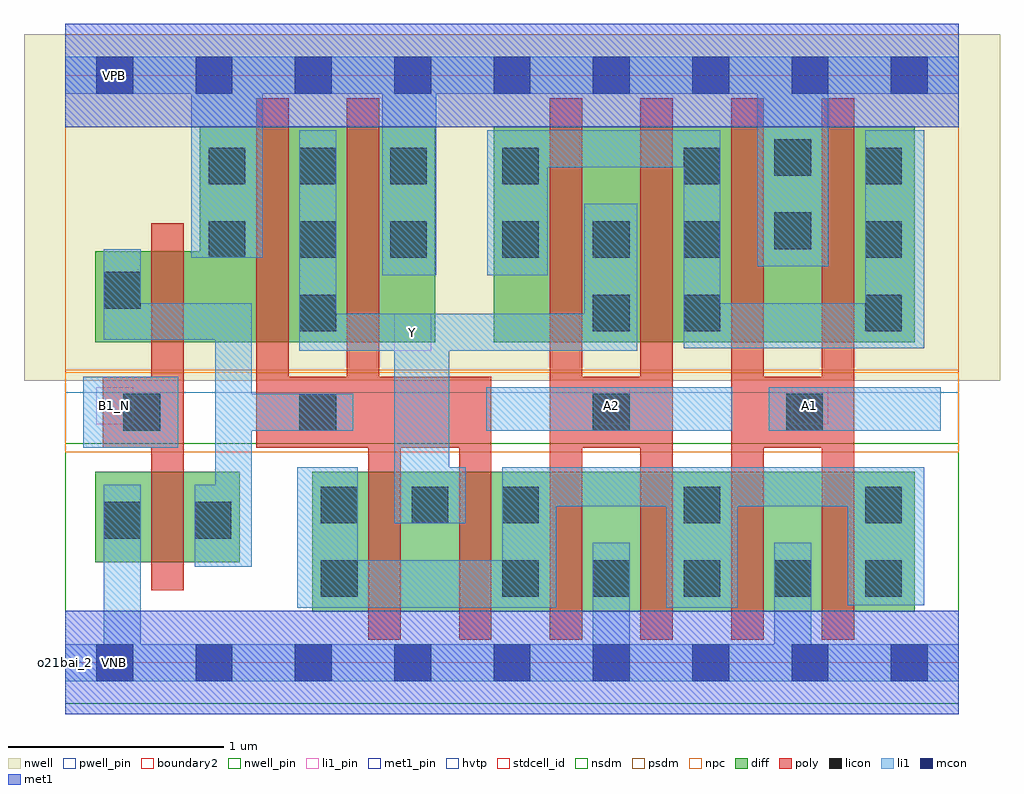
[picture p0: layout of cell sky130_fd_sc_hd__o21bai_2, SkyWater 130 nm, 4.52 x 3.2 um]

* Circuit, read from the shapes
.subckt sky130_fd_sc_hd__o21bai_2 A1 A2 B1_N VGND VNB VPB VPWR Y
XM1 n1 B1_N VGND VNB sky130_fd_pr__nfet_01v8 w=0.42 l=0.15
XM2 Y n1 n2 VNB sky130_fd_pr__nfet_01v8 w=0.65 l=0.15 m=2
XM3 VGND A2 n2 VNB sky130_fd_pr__nfet_01v8 w=0.65 l=0.15 m=2
XM4 VGND A1 n2 VNB sky130_fd_pr__nfet_01v8 w=0.65 l=0.15 m=2
XM5 VPWR B1_N n1 VPB sky130_fd_pr__pfet_01v8_hvt w=0.42 l=0.15
XM6 Y n1 VPWR VPB sky130_fd_pr__pfet_01v8_hvt w=1 l=0.15 m=2
XM7 Y A2 n3 VPB sky130_fd_pr__pfet_01v8_hvt w=1 l=0.15 m=2
XM8 VPWR A1 n3 VPB sky130_fd_pr__pfet_01v8_hvt w=1 l=0.15 m=2
.ends

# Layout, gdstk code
import gdstk
lib = gdstk.Library(unit=1e-6, precision=1e-09)
def R(c, l, rs):  # rectangles x0, y0, x1, y1
    for r in rs: c.add(gdstk.rectangle(r[:2], r[2:], *l))
def A(c, l, x, y, w, h, nx, ny, dx, dy):  # array of equal rectangles
    R(c, l, [(x+i*dx, y+j*dy, x+i*dx+w, y+j*dy+h) for i in range(nx) for j in range(ny)])
def P(c, l, *ps):  # polygons
    for p in ps: c.add(gdstk.Polygon(p, *l))
nwell_pin = (64, 16)
nwell = (64, 20)
diff = (65, 20)
poly = (66, 20)
licon = (66, 44)
li1_pin = (67, 16)
li1 = (67, 20)
mcon = (67, 44)
met1_pin = (68, 16)
met1 = (68, 20)
hvtp = (78, 44)
stdcell_id = (81, 4)
nsdm = (93, 44)
psdm = (94, 20)
npc = (95, 20)
pwell_pin = (122, 16)
boundary2 = (236, 0)

sky130_fd_sc_hd__o21bai_ = lib.new_cell('sky130_fd_sc_hd__o21bai_2')
R(sky130_fd_sc_hd__o21bai_, nwell_pin, [(0.145,2.635,0.315,2.805)])
R(sky130_fd_sc_hd__o21bai_, nwell, [(-0.19,1.305,4.33,2.91)])
R(sky130_fd_sc_hd__o21bai_, diff, [(1.145,0.235,3.935,0.885), (0.14,0.465,0.81,0.885), (1.985,1.485,3.935,2.485)])
P(sky130_fd_sc_hd__o21bai_, diff, [(1.715,2.485),(0.625,2.485),(0.625,1.905),(0.14,1.905),(0.14,1.485),(1.715,1.485)])
P(sky130_fd_sc_hd__o21bai_, poly, [(3.655,2.615),(3.505,2.615),(3.505,1.325),(3.235,1.325),(3.235,2.615),(3.085,2.615),(3.085,0.105),(3.235,0.105),(3.235,0.995),(3.505,0.995),(3.505,0.105),(3.655,0.105)],
  [(2.815,2.615),(2.665,2.615),(2.665,1.325),(2.395,1.325),(2.395,2.615),(2.245,2.615),(2.245,0.105),(2.395,0.105),(2.395,0.995),(2.665,0.995),(2.665,0.105),(2.815,0.105)],
  [(0.55,2.035),(0.4,2.035),(0.4,1.325),(0.175,1.325),(0.175,0.995),(0.4,0.995),(0.4,0.335),(0.55,0.335)],
  [(1.975,1.325),(1.455,1.325),(1.455,2.615),(1.305,2.615),(1.305,1.325),(1.035,1.325),(1.035,2.615),(0.885,2.615),(0.885,0.995),(1.405,0.995),(1.405,0.105),(1.555,0.105),(1.555,0.995),(1.825,0.995),(1.825,0.105),(1.975,0.105)])
A(sky130_fd_sc_hd__o21bai_, licon, 2.025, 0.305, 0.17, 0.17, 5, 1, 0.42, 0)
A(sky130_fd_sc_hd__o21bai_, licon, 1.185, 0.645, 0.17, 0.17, 3, 1, 0.42, 0)
A(sky130_fd_sc_hd__o21bai_, licon, 0.665, 1.875, 0.17, 0.17, 3, 2, 0.42, 0.34)
A(sky130_fd_sc_hd__o21bai_, licon, 2.025, 1.875, 0.17, 0.17, 3, 1, 0.42, 0)
A(sky130_fd_sc_hd__o21bai_, licon, 2.025, 2.215, 0.17, 0.17, 3, 1, 0.84, 0)
R(sky130_fd_sc_hd__o21bai_, licon, [(1.185,0.305,1.355,0.475), (0.18,0.575,0.35,0.745), (0.6,0.575,0.77,0.745), (2.865,0.645,3.035,0.815), (3.705,0.645,3.875,0.815), (0.27,1.075,0.44,1.245), (1.085,1.075,1.255,1.245), (2.445,1.075,2.615,1.245), (3.34,1.075,3.51,1.245), (1.085,1.535,1.255,1.705), (2.445,1.535,2.615,1.705), (2.865,1.535,3.035,1.705), (3.705,1.535,3.875,1.705), (0.18,1.64,0.35,1.81), (3.705,1.875,3.875,2.045), (3.285,1.915,3.455,2.085), (3.285,2.255,3.455,2.425)])
R(sky130_fd_sc_hd__o21bai_, li1_pin, [(0.145,1.105,0.315,1.275), (2.445,1.105,2.615,1.275), (3.365,1.105,3.535,1.275), (1.525,1.445,1.695,1.615)])
R(sky130_fd_sc_hd__o21bai_, li1, [(0.085,0.995,0.525,1.325), (1.95,1.075,3.09,1.275), (3.26,1.075,4.055,1.275)])
P(sky130_fd_sc_hd__o21bai_, li1, [(4.14,0.085),(3.455,0.085),(3.455,0.555),(3.285,0.555),(3.285,0.085),(2.615,0.085),(2.615,0.555),(2.445,0.555),(2.445,0.085),(0.35,0.085),(0.35,0.825),(0.18,0.825),(0.18,0.085),(0,0.085),(0,-0.085),(4.14,-0.085)],
  [(4.14,2.805),(0,2.805),(0,2.635),(0.585,2.635),(0.585,1.875),(0.915,1.875),(0.915,2.635),(1.47,2.635),(1.47,1.795),(1.72,1.795),(1.72,2.635),(3.205,2.635),(3.205,1.835),(3.535,1.835),(3.535,2.635),(4.14,2.635)],
  [(1.335,1.245),(0.865,1.245),(0.865,1.665),(0.35,1.665),(0.35,1.915),(0.18,1.915),(0.18,1.495),(0.695,1.495),(0.695,0.825),(0.6,0.825),(0.6,0.445),(0.865,0.445),(0.865,1.075),(1.335,1.075)],
  [(2.65,2.125),(2.405,2.125),(2.405,1.615),(1.255,1.615),(1.255,2.465),(1.085,2.465),(1.085,1.445),(1.525,1.445),(1.525,0.645),(1.855,0.645),(1.855,0.905),(1.78,0.905),(1.78,1.445),(2.65,1.445)],
  [(3.98,2.465),(3.705,2.465),(3.705,1.665),(3.035,1.665),(3.035,2.465),(1.955,2.465),(1.955,1.795),(2.235,1.795),(2.235,2.295),(2.865,2.295),(2.865,1.455),(3.98,1.455)],
  [(3.98,0.905),(2.025,0.905),(2.025,0.475),(1.355,0.475),(1.355,0.905),(1.075,0.905),(1.075,0.255),(2.275,0.255),(2.275,0.725),(2.785,0.725),(2.785,0.255),(3.115,0.255),(3.115,0.725),(3.625,0.725),(3.625,0.265),(3.98,0.265)])
A(sky130_fd_sc_hd__o21bai_, mcon, 0.145, -0.085, 0.17, 0.17, 9, 2, 0.46, 2.72)
R(sky130_fd_sc_hd__o21bai_, met1_pin, [(0.145,-0.085,0.315,0.085), (0.145,2.635,0.315,2.805)])
R(sky130_fd_sc_hd__o21bai_, hvtp, [(0,1.25,4.14,2.72)])
R(sky130_fd_sc_hd__o21bai_, stdcell_id, [(0,0,4.14,2.72)])
R(sky130_fd_sc_hd__o21bai_, nsdm, [(0,-0.19,4.14,1.015)])
R(sky130_fd_sc_hd__o21bai_, psdm, [(0,1.355,4.14,2.91)])
R(sky130_fd_sc_hd__o21bai_, npc, [(0,0.975,4.14,1.345)])
R(sky130_fd_sc_hd__o21bai_, pwell_pin, [(0.145,-0.085,0.315,0.085)])
R(sky130_fd_sc_hd__o21bai_, boundary2, [(0,0,4.14,2.72)])
sky130_fd_sc_hd__o21bai_.add(gdstk.FlexPath([(0,2.72),(4.14,2.72)], 0.48, ends="flush", simple_path=True, layer=68, datatype=20))  # met1
sky130_fd_sc_hd__o21bai_.add(gdstk.FlexPath([(0,0),(4.14,0)], 0.48, ends="flush", simple_path=True, layer=68, datatype=20))  # met1
sky130_fd_sc_hd__o21bai_.add(gdstk.Label('B1_N', (0.23,1.19), layer=67, texttype=5))
sky130_fd_sc_hd__o21bai_.add(gdstk.Label('Y', (1.61,1.53), layer=67, texttype=5))
sky130_fd_sc_hd__o21bai_.add(gdstk.Label('A2', (2.53,1.19), layer=67, texttype=5))
sky130_fd_sc_hd__o21bai_.add(gdstk.Label('A1', (3.45,1.19), layer=67, texttype=5))
sky130_fd_sc_hd__o21bai_.add(gdstk.Label('VNB', (0.23,0), layer=64, texttype=59))
sky130_fd_sc_hd__o21bai_.add(gdstk.Label('VPB', (0.23,2.72), layer=64, texttype=5))
sky130_fd_sc_hd__o21bai_.add(gdstk.Label('VGND', (0.23,0), layer=68, texttype=5))
sky130_fd_sc_hd__o21bai_.add(gdstk.Label('VPWR', (0.23,2.72), layer=68, texttype=5))
sky130_fd_sc_hd__o21bai_.add(gdstk.Label('o21bai_2', (0,0), layer=83, texttype=44))

lib.write_gds('sky130_fd_sc_hd__o21bai_2.gds')
